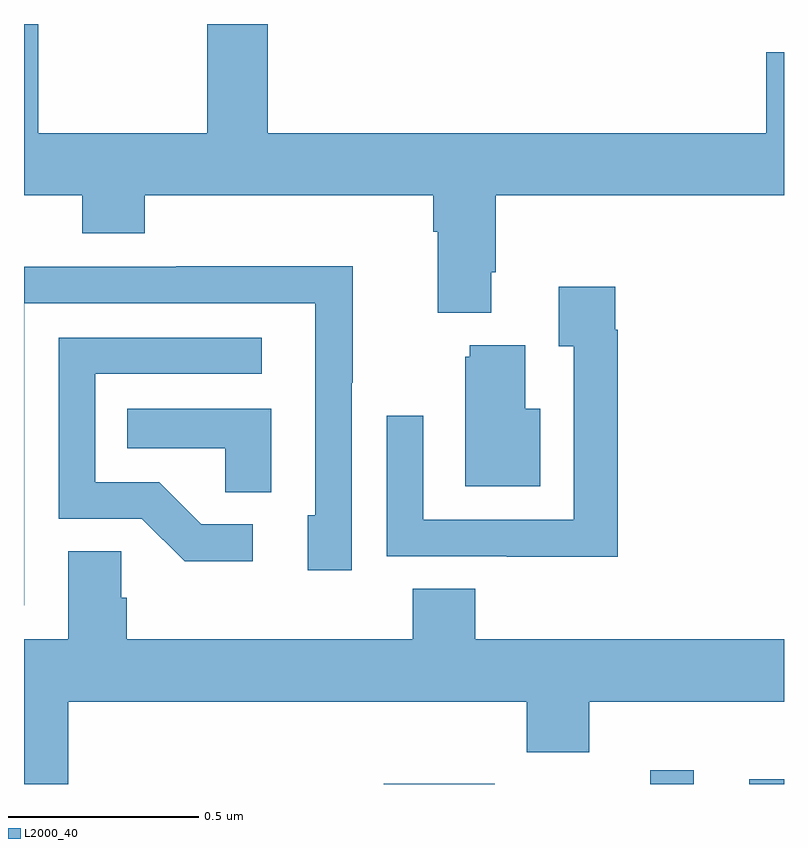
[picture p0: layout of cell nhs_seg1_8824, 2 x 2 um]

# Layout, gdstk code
import gdstk
lib = gdstk.Library(unit=1e-6, precision=1e-09)
def R(c, l, rs):  # rectangles x0, y0, x1, y1
    for r in rs: c.add(gdstk.rectangle(r[:2], r[2:], *l))
def P(c, l, *ps):  # polygons
    for p in ps: c.add(gdstk.Polygon(p, *l))
L2000_40 = (2000, 40)

nhs_seg1_8824 = lib.new_cell('nhs_seg1_8824')
R(nhs_seg1_8824, L2000_40, [(221.947,534.199,222.239,534.2), (222.648,534.199,222.763,534.235), (222.909,534.199,223,534.212)])
P(nhs_seg1_8824, L2000_40, [(222.229,535.546),(222.242,535.546),(222.242,535.748),(223,535.748),(223,536.125),(222.953,536.125),(222.953,535.912),(221.642,535.912),(221.642,536.199),(221.482,536.199),(221.482,535.912),(221.037,535.912),(221.037,536.199),(221,536.199),(221,535.748),(221.153,535.748),(221.153,535.649),(221.318,535.649),(221.318,535.748),(222.077,535.748),(222.077,535.652),(222.089,535.652),(222.089,535.439),(222.229,535.439)],
  [(221.001,535.464),(221.766,535.464),(221.766,534.906),(221.747,534.906),(221.747,534.762),(221.862,534.762),(221.862,535.255),(221.865,535.255),(221.865,535.562),(221.401,535.562),(221.401,535.56),(221,535.56),(221,534.669),(221.001,534.669)],
  [(222.563,535.394),(222.556,535.394),(222.556,535.507),(222.407,535.507),(222.407,535.351),(222.447,535.351),(222.447,534.894),(222.051,534.894),(222.051,535.168),(221.955,535.168),(221.955,534.798),(222.271,534.798),(222.271,534.797),(222.563,534.797)],
  [(221.602,534.882),(221.467,534.882),(221.356,534.993),(221.187,534.993),(221.187,535.278),(221.626,535.278),(221.626,535.374),(221.091,535.374),(221.091,534.897),(221.31,534.897),(221.423,534.785),(221.602,534.785)],
  [(222.358,535.186),(222.319,535.186),(222.319,535.354),(222.173,535.354),(222.173,535.323),(222.161,535.323),(222.161,534.983),(222.358,534.983)],
  [(221.65,535.186),(221.272,535.186),(221.272,535.082),(221.529,535.082),(221.529,534.967),(221.65,534.967)],
  [(221.116,534.416),(222.323,534.416),(222.323,534.283),(222.488,534.283),(222.488,534.416),(223,534.416),(223,534.58),(222.188,534.58),(222.188,534.713),(222.023,534.713),(222.023,534.58),(221.27,534.58),(221.27,534.689),(221.256,534.689),(221.256,534.812),(221.117,534.812),(221.117,534.58),(221,534.58),(221,534.199),(221.116,534.199)])

lib.write_gds('nhs_seg1_8824.gds')
